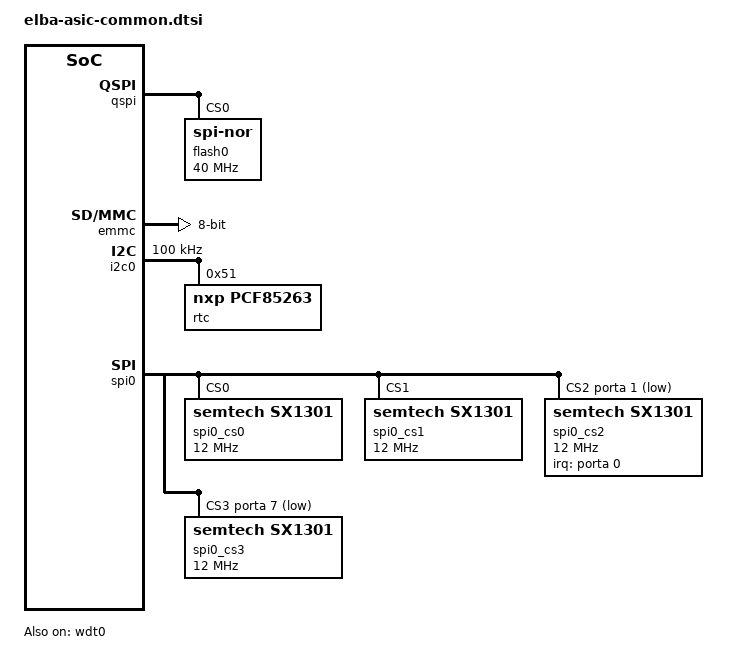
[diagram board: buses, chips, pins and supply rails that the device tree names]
// SPDX-License-Identifier: GPL-2.0
/* Copyright (c) 2019-2021, Pensando Systems Inc. */

&ahb_clk {
	clock-frequency = <400000000>;
};

&emmc_clk {
	clock-frequency = <200000000>;
};

&flash_clk {
	clock-frequency = <400000000>;
};

&ref_clk {
	clock-frequency = <156250000>;
};

&qspi {
	status = "okay";
	flash0: flash@0 {
		compatible = "jedec,spi-nor";
		reg = <0>;
		spi-max-frequency = <40000000>;
		spi-rx-bus-width = <2>;
		m25p,fast-read;
		cdns,read-delay = <0>;
		cdns,tshsl-ns = <0>;
		cdns,tsd2d-ns = <0>;
		cdns,tchsh-ns = <0>;
		cdns,tslch-ns = <0>;
	};
};

&gpio0 {
	status = "okay";
};

&emmc {
	bus-width = <8>;
	status = "okay";
};

&wdt0 {
	status = "okay";
};

&i2c0 {
	clock-frequency = <100000>;
	status = "okay";
	rtc@51 {
		compatible = "nxp,pcf85263";
		reg = <0x51>;
	};
};

&spi0 {
	num-cs = <4>;
	cs-gpios = <0>, <0>, <&porta 1 GPIO_ACTIVE_LOW>,
		   <&porta 7 GPIO_ACTIVE_LOW>;
	status = "okay";
	spi0_cs0@0 {
		compatible = "semtech,sx1301";	/* Enable spidev */
		#address-cells = <1>;
		#size-cells = <1>;
		spi-max-frequency = <12000000>;
		reg = <0>;
	};

	spi0_cs1@1 {
		compatible = "semtech,sx1301";
		#address-cells = <1>;
		#size-cells = <1>;
		spi-max-frequency = <12000000>;
		reg = <1>;
	};

	spi0_cs2@2 {
		compatible = "semtech,sx1301";
		#address-cells = <1>;
		#size-cells = <1>;
		spi-max-frequency = <12000000>;
		reg = <2>;
		interrupt-parent = <&porta>;
		interrupts = <0 IRQ_TYPE_LEVEL_LOW>;
	};

	spi0_cs3@3 {
		compatible = "semtech,sx1301";
		#address-cells = <1>;
		#size-cells = <1>;
		spi-max-frequency = <12000000>;
		reg = <3>;
	};
};
